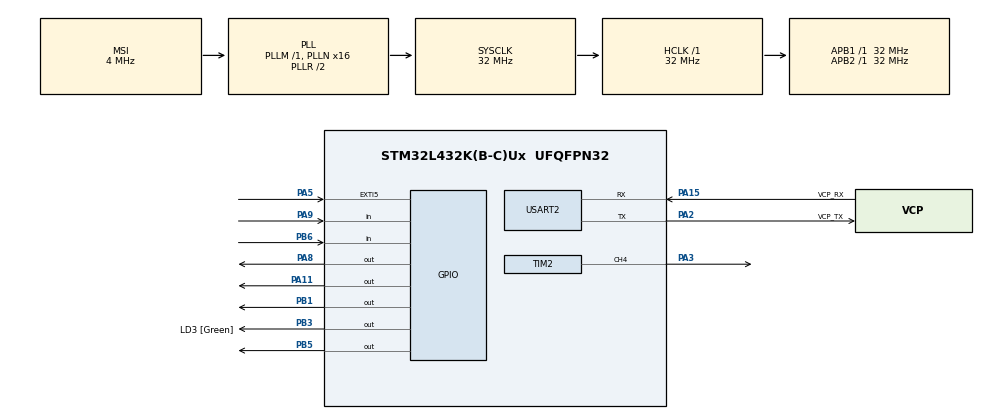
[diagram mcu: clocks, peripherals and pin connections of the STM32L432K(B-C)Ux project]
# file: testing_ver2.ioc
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Mcu.Family=STM32L4
Mcu.Name=STM32L432K(B-C)Ux
Mcu.Package=UFQFPN32
NVIC.EXTI9_5_IRQn=true\:0\:0\:false\:false\:true\:true\:true\:true
NVIC.PriorityGroup=NVIC_PRIORITYGROUP_4
NVIC.TIM2_IRQn=true\:0\:0\:false\:false\:true\:true\:true\:true
PA0.Mode=HSE-External-Clock-Source-for-LittleOrca
PA0.Signal=RCC_CK_IN
PA11.Signal=GPIO_Output
PA13\ (JTMS-SWDIO).GPIO_Label=SWDIO
PA13\ (JTMS-SWDIO).Mode=Serial_Wire
PA13\ (JTMS-SWDIO).Signal=SYS_JTMS-SWDIO
PA14\ (JTCK-SWCLK).GPIO_Label=SWCLK
PA14\ (JTCK-SWCLK).Mode=Serial_Wire
PA14\ (JTCK-SWCLK).Signal=SYS_JTCK-SWCLK
PA15\ (JTDI).GPIO_Label=VCP_RX
PA15\ (JTDI).Mode=Asynchronous
PA15\ (JTDI).Signal=USART2_RX
PA2.GPIO_Label=VCP_TX
PA2.Mode=Asynchronous
PA2.Signal=USART2_TX
PA3.Signal=S_TIM2_CH4
PA5.Signal=GPXTI5
PA8.Signal=GPIO_Output
PA9.Signal=GPIO_Input
PB1.Signal=GPIO_Output
PB3\ (JTDO-TRACESWO).GPIO_Label=LD3 [Green]
PB3\ (JTDO-TRACESWO).Signal=GPIO_Output
PB5.Signal=GPIO_Output
PB6.Signal=GPIO_Input
PC14-OSC32_IN\ (PC14).Mode=LSE-External-Oscillator
PC14-OSC32_IN\ (PC14).Signal=RCC_OSC32_IN
PC15-OSC32_OUT\ (PC15).Mode=LSE-External-Oscillator
PC15-OSC32_OUT\ (PC15).Signal=RCC_OSC32_OUT
ProjectManager.HeapSize=0x200
ProjectManager.StackSize=0x400
ProjectManager.TargetToolchain=STM32CubeIDE
RCC.AHBFreq_Value=32000000
RCC.APB1Freq_Value=32000000
RCC.APB1TimFreq_Value=32000000
RCC.APB2Freq_Value=32000000
RCC.APB2TimFreq_Value=32000000
RCC.CortexFreq_Value=32000000
RCC.HCLKFreq_Value=32000000
RCC.HSE_VALUE=8000000
RCC.HSI16_VALUE=16000000
RCC.HSI48_VALUE=48000000
RCC.HSI_VALUE=16000000
RCC.MSI_VALUE=4000000
RCC.PLLMUL=RCC_PLLMUL_4
RCC.PLLN=16
RCC.SYSCLKFreq_VALUE=32000000
RCC.SYSCLKSource=RCC_SYSCLKSOURCE_PLLCLK
RCC.VCOOutputFreq_Value=64000000
SH.S_TIM2_CH4.0=TIM2_CH4,PWM Generation4 CH4
TIM2.Channel-PWM\ Generation4\ CH4=TIM_CHANNEL_4
TIM2.Period=9999
TIM2.Prescaler=63
USART2.VirtualMode-Asynchronous=VM_ASYNC
VP_TIM2_VS_ClockSourceINT.Mode=Internal
board=NUCLEO-L432KC

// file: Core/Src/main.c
/* USER CODE BEGIN Header */
/**
  ******************************************************************************
  * @file           : main.c
  * @brief          : Main program body
  ******************************************************************************
  * @attention
  *
  * Copyright (c) 2023 STMicroelectronics.
  * All rights reserved.
  *
  * This software is licensed under terms that can be found in the LICENSE file
  * in the root directory of this software component.
  * If no LICENSE file comes with this software, it is provided AS-IS.
  *
  ******************************************************************************
  */
/* USER CODE END Header */
#include "main.h"

/* USER CODE BEGIN Includes */
#include <stdlib.h>
#include <time.h>
/* USER CODE END Includes */

/* USER CODE BEGIN PM */
void reset(int *gameMode, int *attempt); // reset function
int attemptNumber = 1; // attempt number to be incremented - unsure if value needs remembering
/* USER CODE END PM */

TIM_HandleTypeDef htim2;

UART_HandleTypeDef huart2;

void SystemClock_Config(void);
static void MX_GPIO_Init(void);
static void MX_USART2_UART_Init(void);
static void MX_TIM2_Init(void);

int main(void)
{
  /* USER CODE BEGIN 1 */
	srand(time(NULL));
	int T1 = (rand() % 17)*1000;
	int T2 = (rand() % 5)*1000;
	int T3 = 16000;
	int gameModeStart = 0;
  /* USER CODE END 1 */

  /* MCU Configuration--------------------------------------------------------*/

  /* Reset of all peripherals, Initializes the Flash interface and the Systick. */
  HAL_Init();

  /* Configure the system clock */
  SystemClock_Config();

  /* Initialize all configured peripherals */
  MX_GPIO_Init();
  MX_USART2_UART_Init();
  MX_TIM2_Init();
  /* USER CODE BEGIN 2 */
  HAL_TIM_PWM_Start(&htim2, TIM_CHANNEL_4);
  /* USER CODE END 2 */

  /* Infinite loop */
  /* USER CODE BEGIN WHILE */
  while (1)
  {
	  if (HAL_GPIO_ReadPin(GPIOB, GPIO_PIN_6) == GPIO_PIN_SET && gameModeStart == 0) {
		  gameModeStart = 1;
		  HAL_GPIO_WritePin(GPIOB, GPIO_PIN_1, GPIO_PIN_SET); // turn red led on
		  HAL_GPIO_WritePin(GPIOA, GPIO_PIN_8, GPIO_PIN_SET); // turn blue led on
		  HAL_Delay(T1);
		  uint32_t start = HAL_GetTick(); // get the milliseconds right before the leds turn off - 32 bits so overflow will take a long time
		  HAL_GPIO_WritePin(GPIOB, GPIO_PIN_1, GPIO_PIN_RESET);
		  HAL_GPIO_WritePin(GPIOA, GPIO_PIN_8, GPIO_PIN_RESET); // turn the leds off

		  while (HAL_GetTick() - start < T2 && attemptNumber == 1) { // starts the clock, while loop only runs for T2 milliseconds
			  HAL_GPIO_TogglePin(GPIOB, GPIO_PIN_5);
			  HAL_Delay(100);
		  }
		  if (attemptNumber == 2) {
			  HAL_GPIO_WritePin(GPIOB, GPIO_PIN_5, GPIO_PIN_RESET);
			  htim2.Instance->CCR4 = 750;
			  HAL_Delay(T3);
			  htim2.Instance->CCR4 = 250;
		  }
		  uint32_t time_break = HAL_GetTick(); // gets the time right before the next while loop
          while (HAL_GetTick() - time_break < 0.75*T2 && attemptNumber == 2) { // start another clock, this time for only 6 seconds
              HAL_GPIO_TogglePin(GPIOB, GPIO_PIN_5);
              HAL_Delay(100);
          }
		  if (attemptNumber == 3) {
			  HAL_GPIO_WritePin(GPIOB, GPIO_PIN_5, GPIO_PIN_RESET);
			  htim2.Instance->CCR4 = 750;
			  HAL_Delay(T3);
			  htim2.Instance->CCR4 = 250;
		  }
          uint32_t time_break_2 = HAL_GetTick();
          while (HAL_GetTick() - time_break_2 < 0.5*T2 && attemptNumber == 3) {
              HAL_GPIO_TogglePin(GPIOB, GPIO_PIN_5);
              HAL_Delay(100);
          }
		  if (attemptNumber == 4) {
			  HAL_GPIO_WritePin(GPIOB, GPIO_PIN_5, GPIO_PIN_RESET);
			  htim2.Instance->CCR4 = 750;
			  HAL_Delay(T3);
			  htim2.Instance->CCR4 = 250;
		  }
          uint32_t time_break_3 = HAL_GetTick();
          while (HAL_GetTick() - time_break_3 < 3000 && attemptNumber == 4) {
        	  HAL_GPIO_TogglePin(GPIOB, GPIO_PIN_1);
        	  HAL_GPIO_TogglePin(GPIOA, GPIO_PIN_8);
        	  HAL_GPIO_TogglePin(GPIOB, GPIO_PIN_5);
        	  HAL_GPIO_TogglePin(GPIOA, GPIO_PIN_11);
        	  HAL_Delay(250);
          }
          if (attemptNumber == 4) {
        	  reset(&gameModeStart, &attemptNumber);
          }
	  }

	  if (HAL_GPIO_ReadPin(GPIOA, GPIO_PIN_9) == GPIO_PIN_SET) { // reset button
		  reset(&gameModeStart, &attemptNumber);
	  }
    /* USER CODE END WHILE */
  }
}

void SystemClock_Config(void)
{
  RCC_OscInitTypeDef RCC_OscInitStruct = {0};
  RCC_ClkInitTypeDef RCC_ClkInitStruct = {0};

  /** Configure the main internal regulator output voltage
  */
  if (HAL_PWREx_ControlVoltageScaling(PWR_REGULATOR_VOLTAGE_SCALE1) != HAL_OK)
  {
    Error_Handler();
  }

  /** Configure LSE Drive Capability
  */
  HAL_PWR_EnableBkUpAccess();
  __HAL_RCC_LSEDRIVE_CONFIG(RCC_LSEDRIVE_LOW);

  /** Initializes the RCC Oscillators according to the specified parameters
  * in the RCC_OscInitTypeDef structure.
  */
  RCC_OscInitStruct.OscillatorType = RCC_OSCILLATORTYPE_LSE|RCC_OSCILLATORTYPE_MSI;
  RCC_OscInitStruct.LSEState = RCC_LSE_ON;
  RCC_OscInitStruct.MSIState = RCC_MSI_ON;
  RCC_OscInitStruct.MSICalibrationValue = 0;
  RCC_OscInitStruct.MSIClockRange = RCC_MSIRANGE_6;
  RCC_OscInitStruct.PLL.PLLState = RCC_PLL_ON;
  RCC_OscInitStruct.PLL.PLLSource = RCC_PLLSOURCE_MSI;
  RCC_OscInitStruct.PLL.PLLM = 1;
  RCC_OscInitStruct.PLL.PLLN = 16;
  RCC_OscInitStruct.PLL.PLLP = RCC_PLLP_DIV7;
  RCC_OscInitStruct.PLL.PLLQ = RCC_PLLQ_DIV2;
  RCC_OscInitStruct.PLL.PLLR = RCC_PLLR_DIV2;
  if (HAL_RCC_OscConfig(&RCC_OscInitStruct) != HAL_OK)
  {
    Error_Handler();
  }

  /** Initializes the CPU, AHB and APB buses clocks
  */
  RCC_ClkInitStruct.ClockType = RCC_CLOCKTYPE_HCLK|RCC_CLOCKTYPE_SYSCLK
                              |RCC_CLOCKTYPE_PCLK1|RCC_CLOCKTYPE_PCLK2;
  RCC_ClkInitStruct.SYSCLKSource = RCC_SYSCLKSOURCE_PLLCLK;
  RCC_ClkInitStruct.AHBCLKDivider = RCC_SYSCLK_DIV1;
  RCC_ClkInitStruct.APB1CLKDivider = RCC_HCLK_DIV1;
  RCC_ClkInitStruct.APB2CLKDivider = RCC_HCLK_DIV1;

  if (HAL_RCC_ClockConfig(&RCC_ClkInitStruct, FLASH_LATENCY_1) != HAL_OK)
  {
    Error_Handler();
  }

  /** Enable MSI Auto calibration
  */
  HAL_RCCEx_EnableMSIPLLMode();
}

static void MX_TIM2_Init(void)
{

  TIM_ClockConfigTypeDef sClockSourceConfig = {0};
  TIM_MasterConfigTypeDef sMasterConfig = {0};
  TIM_OC_InitTypeDef sConfigOC = {0};

  htim2.Instance = TIM2;
  htim2.Init.Prescaler = 63;
  htim2.Init.CounterMode = TIM_COUNTERMODE_UP;
  htim2.Init.Period = 9999;
  htim2.Init.ClockDivision = TIM_CLOCKDIVISION_DIV1;
  htim2.Init.AutoReloadPreload = TIM_AUTORELOAD_PRELOAD_DISABLE;
  if (HAL_TIM_Base_Init(&htim2) != HAL_OK)
  {
    Error_Handler();
  }
  sClockSourceConfig.ClockSource = TIM_CLOCKSOURCE_INTERNAL;
  if (HAL_TIM_ConfigClockSource(&htim2, &sClockSourceConfig) != HAL_OK)
  {
    Error_Handler();
  }
  if (HAL_TIM_PWM_Init(&htim2) != HAL_OK)
  {
    Error_Handler();
  }
  sMasterConfig.MasterOutputTrigger = TIM_TRGO_RESET;
  sMasterConfig.MasterSlaveMode = TIM_MASTERSLAVEMODE_DISABLE;
  if (HAL_TIMEx_MasterConfigSynchronization(&htim2, &sMasterConfig) != HAL_OK)
  {
    Error_Handler();
  }
  sConfigOC.OCMode = TIM_OCMODE_PWM1;
  sConfigOC.Pulse = 0;
  sConfigOC.OCPolarity = TIM_OCPOLARITY_HIGH;
  sConfigOC.OCFastMode = TIM_OCFAST_DISABLE;
  if (HAL_TIM_PWM_ConfigChannel(&htim2, &sConfigOC, TIM_CHANNEL_4) != HAL_OK)
  {
    Error_Handler();
  }
  HAL_TIM_MspPostInit(&htim2);

}

static void MX_USART2_UART_Init(void)
{

  huart2.Instance = USART2;
  huart2.Init.BaudRate = 115200;
  huart2.Init.WordLength = UART_WORDLENGTH_8B;
  huart2.Init.StopBits = UART_STOPBITS_1;
  huart2.Init.Parity = UART_PARITY_NONE;
  huart2.Init.Mode = UART_MODE_TX_RX;
  huart2.Init.HwFlowCtl = UART_HWCONTROL_NONE;
  huart2.Init.OverSampling = UART_OVERSAMPLING_16;
  huart2.Init.OneBitSampling = UART_ONE_BIT_SAMPLE_DISABLE;
  huart2.AdvancedInit.AdvFeatureInit = UART_ADVFEATURE_NO_INIT;
  if (HAL_UART_Init(&huart2) != HAL_OK)
  {
    Error_Handler();
  }

}

static void MX_GPIO_Init(void)
{
  GPIO_InitTypeDef GPIO_InitStruct = {0};

  /* GPIO Ports Clock Enable */
  __HAL_RCC_GPIOC_CLK_ENABLE();
  __HAL_RCC_GPIOA_CLK_ENABLE();
  __HAL_RCC_GPIOB_CLK_ENABLE();

  /*Configure GPIO pin Output Level */
  HAL_GPIO_WritePin(GPIOB, GPIO_PIN_1|LD3_Pin|GPIO_PIN_5, GPIO_PIN_RESET);

  /*Configure GPIO pin Output Level */
  HAL_GPIO_WritePin(GPIOA, GPIO_PIN_8|GPIO_PIN_11, GPIO_PIN_RESET);

  /*Configure GPIO pin : PA5 */
  GPIO_InitStruct.Pin = GPIO_PIN_5;
  GPIO_InitStruct.Mode = GPIO_MODE_IT_RISING;
  GPIO_InitStruct.Pull = GPIO_NOPULL;
  HAL_GPIO_Init(GPIOA, &GPIO_InitStruct);

  /*Configure GPIO pins : PB1 LD3_Pin PB5 */
  GPIO_InitStruct.Pin = GPIO_PIN_1|LD3_Pin|GPIO_PIN_5;
  GPIO_InitStruct.Mode = GPIO_MODE_OUTPUT_PP;
  GPIO_InitStruct.Pull = GPIO_NOPULL;
  GPIO_InitStruct.Speed = GPIO_SPEED_FREQ_LOW;
  HAL_GPIO_Init(GPIOB, &GPIO_InitStruct);

  /*Configure GPIO pins : PA8 PA11 */
  GPIO_InitStruct.Pin = GPIO_PIN_8|GPIO_PIN_11;
  GPIO_InitStruct.Mode = GPIO_MODE_OUTPUT_PP;
  GPIO_InitStruct.Pull = GPIO_NOPULL;
  GPIO_InitStruct.Speed = GPIO_SPEED_FREQ_LOW;
  HAL_GPIO_Init(GPIOA, &GPIO_InitStruct);

  /*Configure GPIO pin : PA9 */
  GPIO_InitStruct.Pin = GPIO_PIN_9;
  GPIO_InitStruct.Mode = GPIO_MODE_INPUT;
  GPIO_InitStruct.Pull = GPIO_NOPULL;
  HAL_GPIO_Init(GPIOA, &GPIO_InitStruct);

  /*Configure GPIO pin : PB6 */
  GPIO_InitStruct.Pin = GPIO_PIN_6;
  GPIO_InitStruct.Mode = GPIO_MODE_INPUT;
  GPIO_InitStruct.Pull = GPIO_NOPULL;
  HAL_GPIO_Init(GPIOB, &GPIO_InitStruct);

  /* EXTI interrupt init*/
  HAL_NVIC_SetPriority(EXTI9_5_IRQn, 0, 0);
  HAL_NVIC_EnableIRQ(EXTI9_5_IRQn);

}

/* USER CODE BEGIN 4 */

void HAL_GPIO_EXTI_Callback(uint16_t GPIO_Pin) { // interrupt for orange button
	if (GPIO_Pin == GPIO_PIN_5 && HAL_GPIO_ReadPin(GPIOB, GPIO_PIN_5) == GPIO_PIN_SET) { // orange button pressed and yellow led on
		++attemptNumber;
	}
}

void reset(int *gameMode, int *attempt) {
	*gameMode = 0;
	*attempt = 1;
	HAL_GPIO_WritePin(GPIOB, GPIO_PIN_1, GPIO_PIN_RESET);
	HAL_GPIO_WritePin(GPIOA, GPIO_PIN_8, GPIO_PIN_RESET);
	HAL_GPIO_WritePin(GPIOB, GPIO_PIN_5, GPIO_PIN_RESET);
	HAL_GPIO_WritePin(GPIOA, GPIO_PIN_11, GPIO_PIN_RESET);
}
/* USER CODE END 4 */

void Error_Handler(void)
{
  /* USER CODE BEGIN Error_Handler_Debug */
  /* User can add their own implementation to report the HAL error return state */
  __disable_irq();
  while (1)
  {
  }
  /* USER CODE END Error_Handler_Debug */
}
